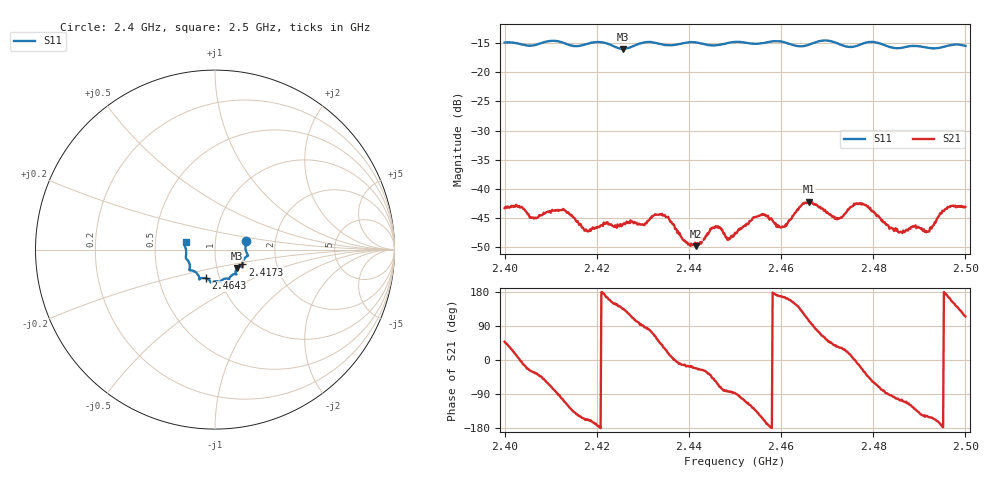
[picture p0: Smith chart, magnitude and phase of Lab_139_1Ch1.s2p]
# Hz S RI R 50
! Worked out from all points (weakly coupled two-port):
!   601 points, 2.4 GHz to 2.5 GHz, reference 50 ohm
!   highest |S21| = -42.22 dB at 2.466 GHz (marker M1); lowest = -49.9 dB at 2.4415 GHz (marker M2)
!   lowest |S11| = -15.9 dB at 2.4257 GHz (marker M3), VSWR 1.38, Z = 62.4 - j13.1 ohm
!   |S11| at or under -10 dB: start of sweep to end of sweep
!   S12 and S22 are empty: the file has one direction only
!   S11 on the Smith chart (normalised r, x): 2.4 GHz: 1.41, +0.14; 2.4173 GHz: 1.34, -0.23; 2.4643 GHz: 0.86, -0.28; 2.5 GHz: 0.72, +0.06
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2.4e9  0.1738 0.0492  0.00456 0.00507  0 0  0 0
2.406333e9  0.1711 -0.00293  0.00466 -0.003  0 0  0 0
2.412833e9  0.1751 -0.0395  -0.00195 -0.00637  0 0  0 0
2.416667e9  0.1529 -0.0753  -0.00418 -0.00229  0 0  0 0
2.417333e9  0.1521 -0.0828  -0.00394 -0.00186  0 0  0 0
2.425667e9  0.1222 -0.1024  -0.00346 0.00354  0 0  0 0
2.433333e9  0.1128 -0.1367  0.00377 0.00462  0 0  0 0
2.4415e9  0.0764 -0.1644  0.00298 -0.0012  0 0  0 0
2.4455e9  0.051 -0.1628  0.00279 -0.00365  0 0  0 0
2.4485e9  0.0334 -0.1761  0.000452 -0.0036  0 0  0 0
2.45e9  0.0297 -0.1807  0.000208 -0.00419  0 0  0 0
2.456e9  -0.00675 -0.1783  -0.00539 -0.00257  0 0  0 0
2.460333e9  -0.0244 -0.1818  -0.00459 0.00116  0 0  0 0
2.464333e9  -0.0503 -0.1601  -0.0047 0.00536  0 0  0 0
2.466e9  -0.0697 -0.158  -0.00184 0.00752  0 0  0 0
2.466667e9  -0.0762 -0.1593  -0.000518 0.00768  0 0  0 0
2.472167e9  -0.0878 -0.1549  0.00444 0.00316  0 0  0 0
2.477833e9  -0.1343 -0.116  0.00645 -0.00355  0 0  0 0
2.483333e9  -0.1406 -0.0893  -7.47e-05 -0.00478  0 0  0 0
2.491667e9  -0.161 -0.0289  -0.00361 -0.00232  0 0  0 0
2.496167e9  -0.1681 0.021  -0.00682 0.00145  0 0  0 0
2.5e9  -0.1637 0.0418  -0.00294 0.00634  0 0  0 0
